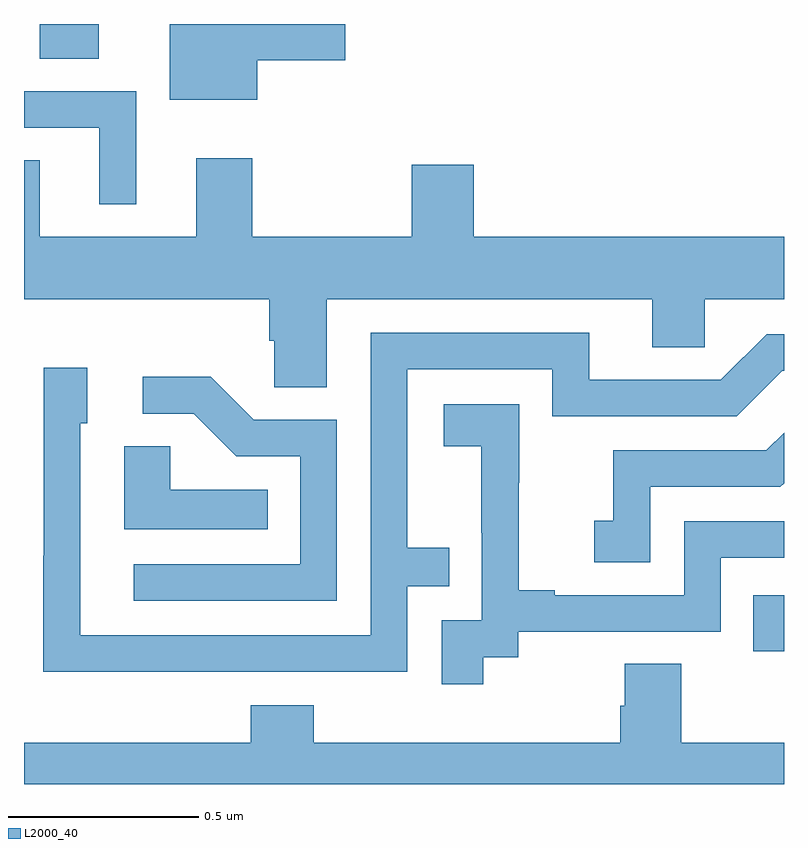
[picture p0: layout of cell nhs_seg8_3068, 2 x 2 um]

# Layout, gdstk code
import gdstk
lib = gdstk.Library(unit=1e-6, precision=1e-09)
def R(c, l, rs):  # rectangles x0, y0, x1, y1
    for r in rs: c.add(gdstk.rectangle(r[:2], r[2:], *l))
def P(c, l, *ps):  # polygons
    for p in ps: c.add(gdstk.Polygon(p, *l))
L2000_40 = (2000, 40)

nhs_seg8_3068 = lib.new_cell('nhs_seg8_3068')
R(nhs_seg8_3068, L2000_40, [(153.919,1106.25,154,1106.397), (152.042,1107.808,152.197,1107.9)])
P(nhs_seg8_3068, L2000_40, [(152.614,1107.805),(152.845,1107.805),(152.845,1107.9),(152.384,1107.9),(152.384,1107.701),(152.614,1107.701)],
  [(152.296,1107.723),(152,1107.723),(152,1107.627),(152.198,1107.627),(152.198,1107.426),(152.296,1107.426)],
  [(152.797,1107.176),(153.653,1107.176),(153.653,1107.049),(153.792,1107.049),(153.792,1107.176),(154,1107.176),(154,1107.34),(153.184,1107.34),(153.184,1107.529),(153.02,1107.529),(153.02,1107.34),(152.601,1107.34),(152.601,1107.547),(152.453,1107.547),(152.453,1107.34),(152.041,1107.34),(152.041,1107.542),(152,1107.542),(152,1107.176),(152.645,1107.176),(152.645,1107.067),(152.658,1107.067),(152.658,1106.944),(152.797,1106.944)],
  [(152.513,1106.196),(153.009,1106.196),(153.009,1106.421),(153.119,1106.421),(153.119,1106.522),(153.009,1106.522),(153.009,1106.991),(153.39,1106.991),(153.39,1106.868),(153.876,1106.868),(153.996,1106.988),(154,1106.988),(154,1107.084),(153.954,1107.084),(153.834,1106.964),(153.487,1106.964),(153.487,1107.087),(152.913,1107.087),(152.913,1106.292),(152.148,1106.292),(152.148,1106.85),(152.167,1106.85),(152.167,1106.995),(152.052,1106.995),(152.052,1106.501),(152.05,1106.501),(152.05,1106.195),(152.513,1106.195)],
  [(152.823,1106.859),(152.604,1106.859),(152.491,1106.972),(152.313,1106.972),(152.313,1106.874),(152.447,1106.874),(152.558,1106.763),(152.727,1106.763),(152.727,1106.478),(152.289,1106.478),(152.289,1106.382),(152.823,1106.382)],
  [(153.208,1106.233),(153.3,1106.233),(153.3,1106.301),(153.834,1106.301),(153.834,1106.496),(154,1106.496),(154,1106.592),(153.738,1106.592),(153.738,1106.397),(153.397,1106.397),(153.397,1106.41),(153.302,1106.41),(153.302,1106.693),(153.303,1106.693),(153.303,1106.899),(153.105,1106.899),(153.105,1106.789),(153.203,1106.789),(153.203,1106.561),(153.204,1106.561),(153.204,1106.331),(153.099,1106.331),(153.099,1106.163),(153.208,1106.163)],
  [(153.648,1106.682),(153.99,1106.682),(154,1106.692),(154,1106.825),(153.953,1106.778),(153.55,1106.778),(153.55,1106.593),(153.501,1106.593),(153.501,1106.484),(153.648,1106.484)],
  [(152.642,1106.674),(152.385,1106.674),(152.385,1106.789),(152.264,1106.789),(152.264,1106.57),(152.642,1106.57)],
  [(154,1106.008),(153.729,1106.008),(153.729,1106.216),(153.581,1106.216),(153.581,1106.106),(153.569,1106.106),(153.569,1106.008),(152.762,1106.008),(152.762,1106.107),(152.597,1106.107),(152.597,1106.008),(152,1106.008),(152,1105.9),(154,1105.9)])

lib.write_gds('nhs_seg8_3068.gds')
